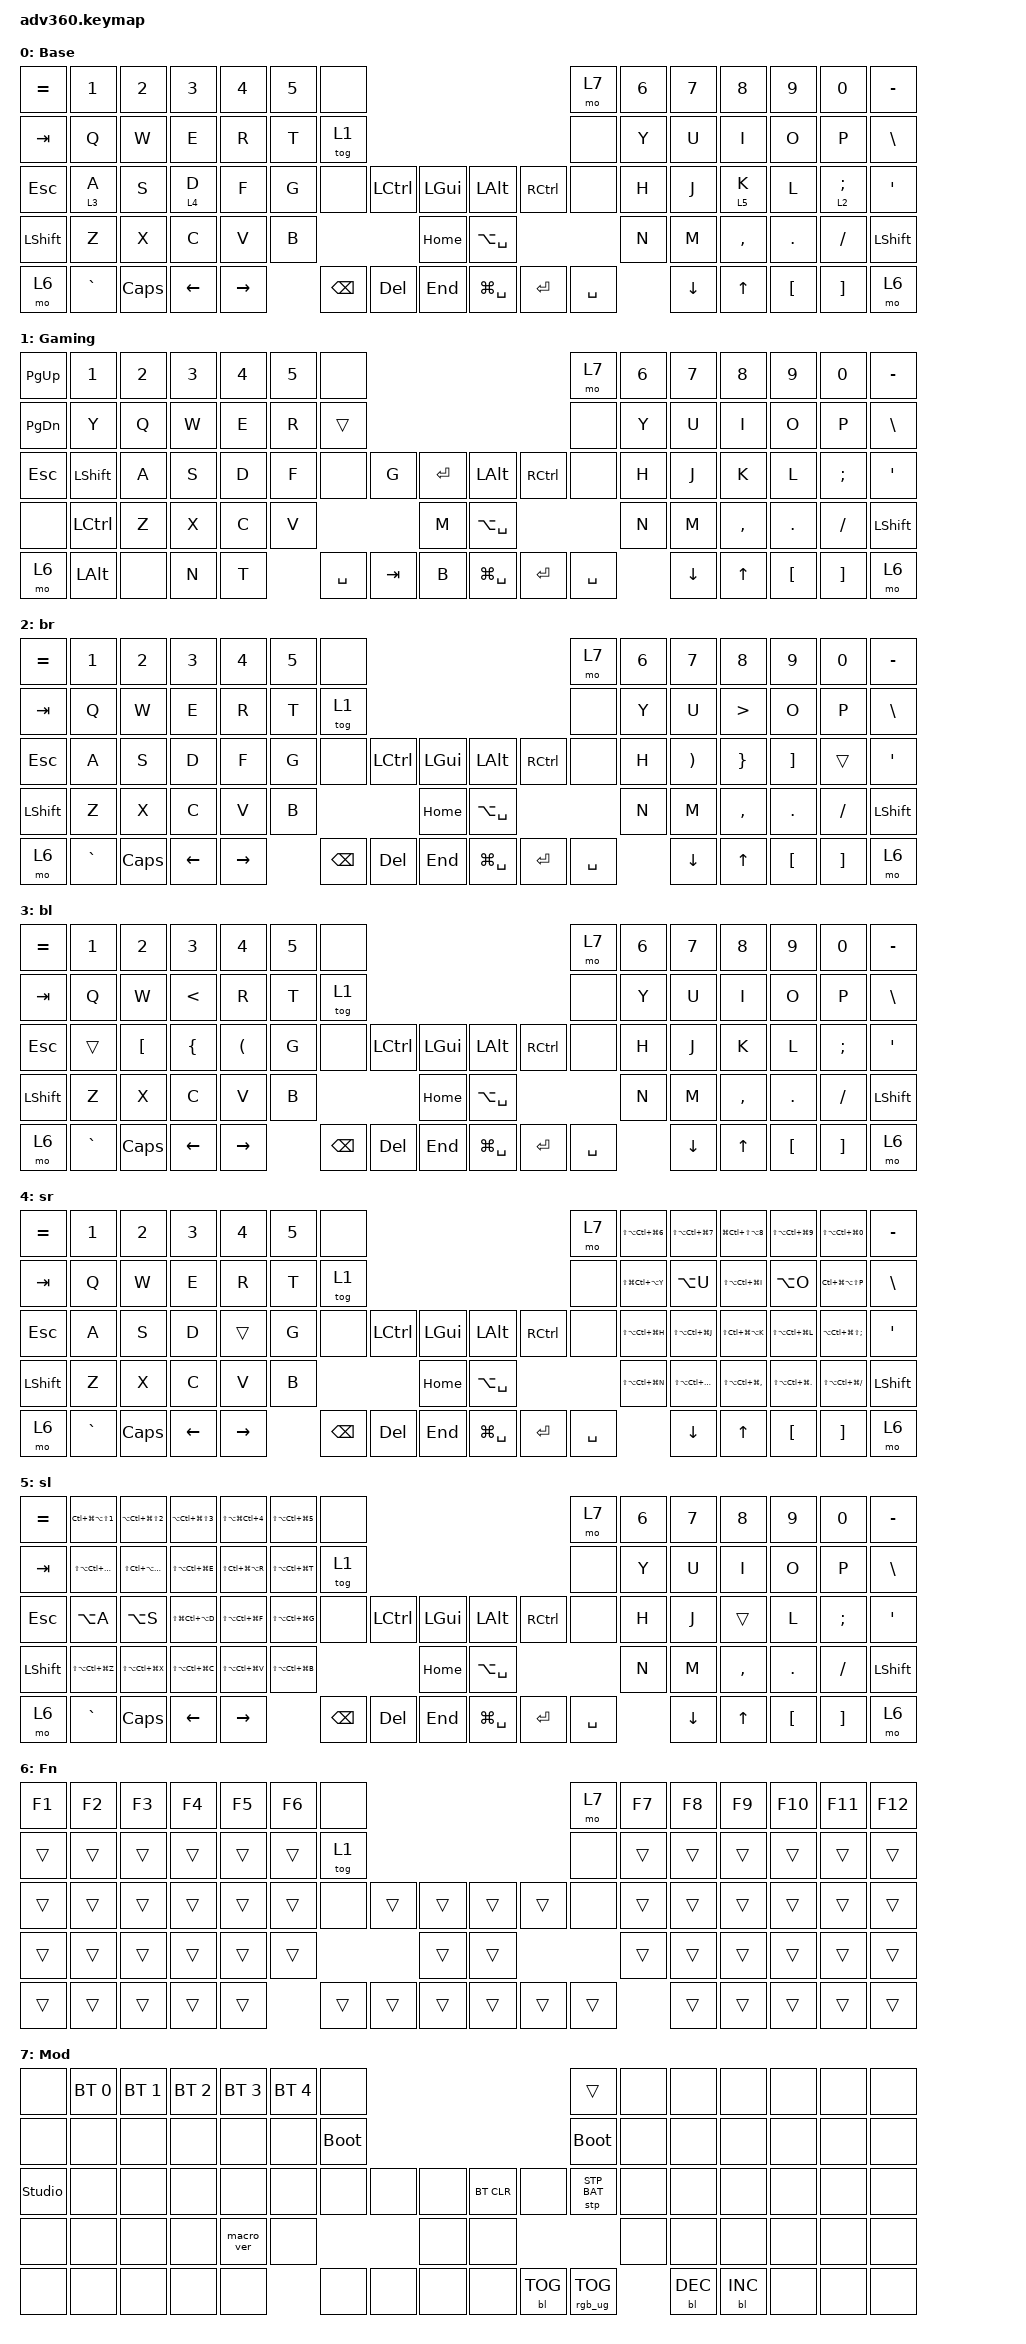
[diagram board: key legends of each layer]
#include <dt-bindings/zmk/stp.h>
#include <behaviors.dtsi>
#include <dt-bindings/zmk/backlight.h>
#include <dt-bindings/zmk/bt.h>
#include <dt-bindings/zmk/keys.h>
#include <dt-bindings/zmk/rgb.h>

/ {
    behaviors {
        #include "macros.dtsi"
      #include "version.dtsi"

        hm: homerow_mods {
            compatible = "zmk,behavior-hold-tap";
            label = "HOMEROW_MODS";
            #binding-cells = <2>;
            tapping-term-ms = <200>;
            quick_tap_ms = <175>;
            flavor = "tap-preferred";
            bindings = <&kp>, <&kp>;
        };
    };

    keymap {
        compatible = "zmk,keymap";

        default_layer {
            display-name = "Base";
            bindings = <
&kp EQUAL  &kp N1     &kp N2    &kp N3    &kp N4     &kp N5  &none                                                            &mo 7      &kp N6  &kp N7    &kp N8        &kp N9    &kp N0           &kp MINUS
&kp TAB    &kp Q      &kp W     &kp E     &kp R      &kp T   &tog 1                                                           &none      &kp Y   &kp U     &kp I         &kp O     &kp P            &kp BSLH
&kp ESC    &lt 3 A    &kp S     &lt 4 D   &kp F      &kp G   &none     &kp LCTRL  &kp LEFT_GUI      &kp LEFT_ALT   &kp RCTRL  &none      &kp H   &kp J     &lt 5 K       &kp L     &lt 2 SEMICOLON  &kp SQT
&kp LSHFT  &kp Z      &kp X     &kp C     &kp V      &kp B                        &kp HOME          &kp LA(SPACE)                        &kp N   &kp M     &kp COMMA     &kp DOT   &kp FSLH         &kp LEFT_SHIFT
&mo 6      &kp GRAVE  &kp CAPS  &kp LEFT  &kp RIGHT          &kp BSPC  &kp DEL    &kp END           &kp LG(SPACE)  &kp ENTER  &kp SPACE          &kp DOWN  &kp UP_ARROW  &kp LBKT  &kp RBKT         &mo 6
            >;
        };

        gaming {
            display-name = "Gaming";
            bindings = <
&kp PAGE_UP    &kp N1          &kp N2  &kp N3  &kp N4  &kp N5  &none                                                        &mo 7      &kp N6  &kp N7    &kp N8        &kp N9    &kp N0    &kp MINUS
&kp PAGE_DOWN  &kp Y           &kp Q   &kp W   &kp E   &kp R   &trans                                                       &none      &kp Y   &kp U     &kp I         &kp O     &kp P     &kp BSLH
&kp ESCAPE     &kp LEFT_SHIFT  &kp A   &kp S   &kp D   &kp F   &none      &kp G    &kp ENTER      &kp LEFT_ALT   &kp RCTRL  &none      &kp H   &kp J     &kp K         &kp L     &kp SEMI  &kp SQT
&none          &kp LCTRL       &kp Z   &kp X   &kp C   &kp V                       &kp M          &kp LA(SPACE)                        &kp N   &kp M     &kp COMMA     &kp DOT   &kp FSLH  &kp LEFT_SHIFT
&mo 6          &kp LEFT_ALT    &none   &kp N   &kp T           &kp SPACE  &kp TAB  &kp B          &kp LG(SPACE)  &kp ENTER  &kp SPACE          &kp DOWN  &kp UP_ARROW  &kp LBKT  &kp RBKT  &mo 6
            >;
        };

        brackets_right {
            display-name = "br";
            bindings = <
&kp EQUAL  &kp N1     &kp N2    &kp N3    &kp N4     &kp N5  &none                                                            &mo 7      &kp N6  &kp N7                 &kp N8            &kp N9             &kp N0    &kp MINUS
&kp TAB    &kp Q      &kp W     &kp E     &kp R      &kp T   &tog 1                                                           &none      &kp Y   &kp U                  &kp GREATER_THAN  &kp O              &kp P     &kp BSLH
&kp ESC    &kp A      &kp S     &kp D     &kp F      &kp G   &none     &kp LCTRL  &kp LEFT_GUI      &kp LEFT_ALT   &kp RCTRL  &none      &kp H   &kp RIGHT_PARENTHESIS  &kp RIGHT_BRACE   &kp RIGHT_BRACKET  &trans    &kp SQT
&kp LSHFT  &kp Z      &kp X     &kp C     &kp V      &kp B                        &kp HOME          &kp LA(SPACE)                        &kp N   &kp M                  &kp COMMA         &kp DOT            &kp FSLH  &kp LEFT_SHIFT
&mo 6      &kp GRAVE  &kp CAPS  &kp LEFT  &kp RIGHT          &kp BSPC  &kp DEL    &kp END           &kp LG(SPACE)  &kp ENTER  &kp SPACE          &kp DOWN               &kp UP_ARROW      &kp LBKT           &kp RBKT  &mo 6
            >;
        };

        brackets_left {
            display-name = "bl";
            bindings = <
&kp EQUAL  &kp N1     &kp N2            &kp N3          &kp N4                &kp N5  &none                                                            &mo 7      &kp N6  &kp N7    &kp N8        &kp N9    &kp N0         &kp MINUS
&kp TAB    &kp Q      &kp W             &kp LESS_THAN   &kp R                 &kp T   &tog 1                                                           &none      &kp Y   &kp U     &kp I         &kp O     &kp P          &kp BSLH
&kp ESC    &trans     &kp LEFT_BRACKET  &kp LEFT_BRACE  &kp LEFT_PARENTHESIS  &kp G   &none     &kp LCTRL  &kp LEFT_GUI      &kp LEFT_ALT   &kp RCTRL  &none      &kp H   &kp J     &kp K         &kp L     &kp SEMICOLON  &kp SQT
&kp LSHFT  &kp Z      &kp X             &kp C           &kp V                 &kp B                        &kp HOME          &kp LA(SPACE)                        &kp N   &kp M     &kp COMMA     &kp DOT   &kp FSLH       &kp LEFT_SHIFT
&mo 6      &kp GRAVE  &kp CAPS          &kp LEFT        &kp RIGHT                     &kp BSPC  &kp DEL    &kp END           &kp LG(SPACE)  &kp ENTER  &kp SPACE          &kp DOWN  &kp UP_ARROW  &kp LBKT  &kp RBKT       &mo 6
            >;
        };

        super_right {
            display-name = "sr";
            bindings = <
&kp EQUAL  &kp N1     &kp N2    &kp N3    &kp N4     &kp N5  &none                                                            &mo 7      &kp LS(LA(LC(LG(N6))))  &kp LS(LA(LC(LG(N7))))  &kp LG(LC(LS(LA(N8))))     &kp LS(LA(LC(LG(N9))))   &kp LS(LA(LC(LG(N0))))    &kp MINUS
&kp TAB    &kp Q      &kp W     &kp E     &kp R      &kp T   &tog 1                                                           &none      &kp LS(LG(LC(LA(Y))))   &kp LA(U)               &kp LS(LA(LC(LG(I))))      &kp LA(O)                &kp LC(LG(LA(LS(P))))     &kp BSLH
&kp ESC    &kp A      &kp S     &kp D     &trans     &kp G   &none     &kp LCTRL  &kp LEFT_GUI      &kp LEFT_ALT   &kp RCTRL  &none      &kp LS(LA(LC(LG(H))))   &kp LS(LA(LC(LG(J))))   &kp LS(LC(LG(LA(K))))      &kp LS(LA(LC(LG(L))))    &kp LA(LC(LG(LS(SEMI))))  &kp SQT
&kp LSHFT  &kp Z      &kp X     &kp C     &kp V      &kp B                        &kp HOME          &kp LA(SPACE)                        &kp LS(LA(LC(LG(N))))   &kp LS(LA(LC(LG(M))))   &kp LS(LA(LC(LG(COMMA))))  &kp LS(LA(LC(LG(DOT))))  &kp LS(LA(LC(LG(FSLH))))  &kp LEFT_SHIFT
&mo 6      &kp GRAVE  &kp CAPS  &kp LEFT  &kp RIGHT          &kp BSPC  &kp DEL    &kp END           &kp LG(SPACE)  &kp ENTER  &kp SPACE                          &kp DOWN                &kp UP_ARROW               &kp LBKT                 &kp RBKT                  &mo 6
            >;
        };

        super_left {
            display-name = "sl";
            bindings = <
&kp EQUAL  &kp LC(LG(LA(LS(N1))))  &kp LA(LC(LG(LS(N2))))  &kp LA(LC(LG(LS(N3))))  &kp LS(LA(LG(LC(N4))))  &kp LS(LA(LC(LG(N5))))  &none                                                            &mo 7      &kp N6  &kp N7    &kp N8        &kp N9    &kp N0    &kp MINUS
&kp TAB    &kp LS(LA(LC(LG(Q))))   &kp LS(LC(LA(LG(W))))   &kp LS(LA(LC(LG(E))))   &kp LS(LC(LG(LA(R))))   &kp LS(LA(LC(LG(T))))   &tog 1                                                           &none      &kp Y   &kp U     &kp I         &kp O     &kp P     &kp BSLH
&kp ESC    &kp LA(A)               &kp LA(S)               &kp LS(LG(LC(LA(D))))   &kp LS(LA(LC(LG(F))))   &kp LS(LA(LC(LG(G))))   &none     &kp LCTRL  &kp LEFT_GUI      &kp LEFT_ALT   &kp RCTRL  &none      &kp H   &kp J     &trans        &kp L     &kp SEMI  &kp SQT
&kp LSHFT  &kp LS(LA(LC(LG(Z))))   &kp LS(LA(LC(LG(X))))   &kp LS(LA(LC(LG(C))))   &kp LS(LA(LC(LG(V))))   &kp LS(LA(LC(LG(B))))                        &kp HOME          &kp LA(SPACE)                        &kp N   &kp M     &kp COMMA     &kp DOT   &kp FSLH  &kp LEFT_SHIFT
&mo 6      &kp GRAVE               &kp CAPS                &kp LEFT                &kp RIGHT                                       &kp BSPC  &kp DEL    &kp END           &kp LG(SPACE)  &kp ENTER  &kp SPACE          &kp DOWN  &kp UP_ARROW  &kp LBKT  &kp RBKT  &mo 6
            >;
        };

        fn {
            display-name = "Fn";
            bindings = <
&kp F1  &kp F2  &kp F3  &kp F4  &kp F5  &kp F6  &none                                       &mo 7   &kp F7  &kp F8  &kp F9  &kp F10  &kp F11  &kp F12
&trans  &trans  &trans  &trans  &trans  &trans  &tog 1                                      &none   &trans  &trans  &trans  &trans   &trans   &trans
&trans  &trans  &trans  &trans  &trans  &trans  &none   &trans  &trans      &trans  &trans  &none   &trans  &trans  &trans  &trans   &trans   &trans
&trans  &trans  &trans  &trans  &trans  &trans                  &trans      &trans                  &trans  &trans  &trans  &trans   &trans   &trans
&trans  &trans  &trans  &trans  &trans          &trans  &trans  &trans      &trans  &trans  &trans          &trans  &trans  &trans   &trans   &trans
            >;
        };

        mod {
            display-name = "Mod";
            bindings = <
&none           &bt BT_SEL 0  &bt BT_SEL 1  &bt BT_SEL 2  &bt BT_SEL 3  &bt BT_SEL 4  &none                                                  &trans           &none  &none       &none       &none  &none  &none
&none           &none         &none         &none         &none         &none         &bootloader                                            &bootloader      &none  &none       &none       &none  &none  &none
&studio_unlock  &none         &none         &none         &none         &none         &none        &none  &none      &bt BT_CLR  &none       &stp STP_BAT     &none  &none       &none       &none  &none  &none
&none           &none         &none         &none         &macro_ver    &none                             &none      &none                                    &none  &none       &none       &none  &none  &none
&none           &none         &none         &none         &none                       &none        &none  &none      &none       &bl BL_TOG  &rgb_ug RGB_TOG         &bl BL_DEC  &bl BL_INC  &none  &none  &none
            >;
        };
    };
};
